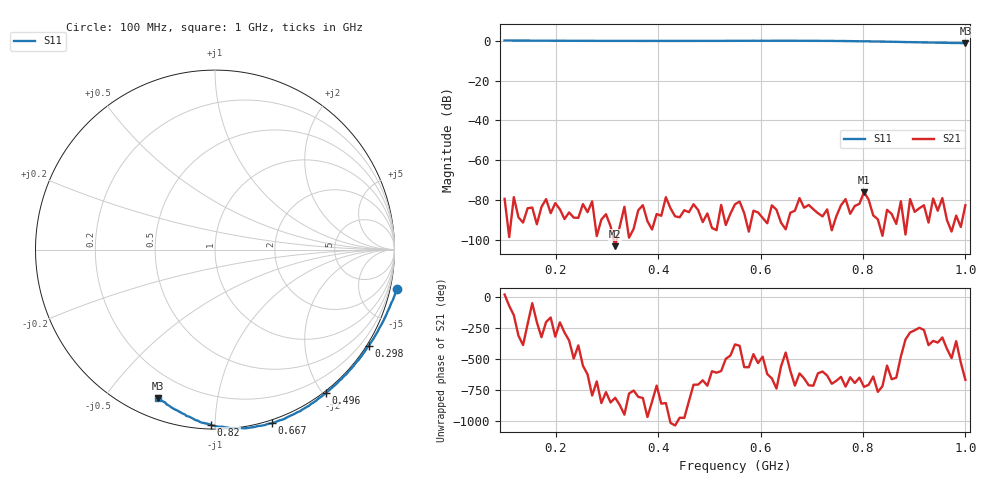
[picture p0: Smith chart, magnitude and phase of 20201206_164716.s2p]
# HZ S RI R 50
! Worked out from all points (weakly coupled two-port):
!   101 points, 100 MHz to 1 GHz, reference 50 ohm
!   highest |S21| = -76.11 dB at 802 MHz (marker M1); lowest = -103.3 dB at 316 MHz (marker M2)
!   lowest |S11| = -1.0 dB at 1 GHz (marker M3), VSWR 16.61, Z = 4.43 - j34.3 ohm
!   |S11| at or under -10 dB: nowhere
!   S12 and S22 are empty: the file has one direction only
!   S11 on the Smith chart (normalised r, x): 100 MHz: -1.51, -9.08; 298 MHz: -0.07, -3.49; 496 MHz: -0.03, -2.04; 667 MHz: -0.03, -1.38; 820 MHz: 0.02, -0.98; 1 GHz: 0.09, -0.69
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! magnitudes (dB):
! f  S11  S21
! 100 MHz  0.3  -79.5
! 109 MHz  0.3  -98.8
! 118 MHz  0.3  -78.6
! 127 MHz  0.3  -88.8
! 253 MHz  0.1  -82.1
! 298 MHz  0.1  -87.2
! 316 MHz  0.1  -103.3
! 406 MHz  0.1  -88.0
! 415 MHz  0.1  -78.7
! 424 MHz  0.1  -84.3
! 496 MHz  0.1  -86.9
! 550 MHz  0.1  -82.2
! 667 MHz  0.2  -85.5
! 676 MHz  0.1  -79.1
! 703 MHz  0.1  -84.7
! 793 MHz  -0.1  -82.0
! 802 MHz  -0.1  -76.1
! 811 MHz  -0.2  -79.9
! 820 MHz  -0.2  -87.8
! 856 MHz  -0.4  -87.1
! 955 MHz  -0.8  -79.1
! 1 GHz  -1.0  -82.7
